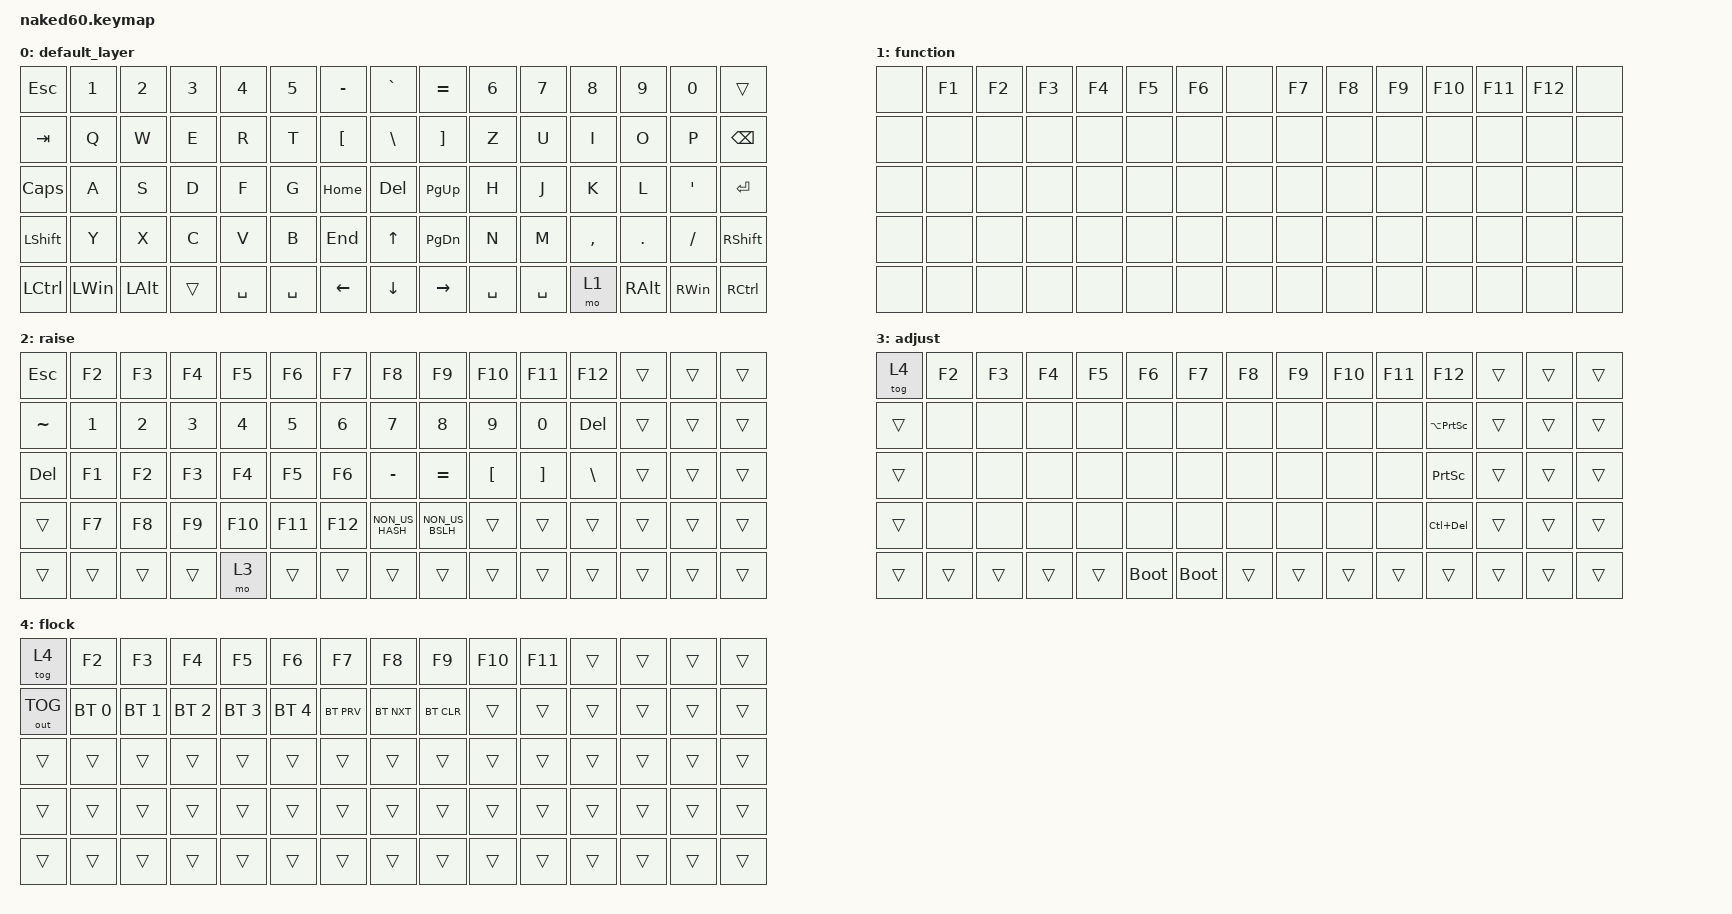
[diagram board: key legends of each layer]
/*
 * Copyright (c) 2020 The ZMK Contributors
 *
 * SPDX-License-Identifier: MIT
 */

#include <behaviors.dtsi>
#include <dt-bindings/zmk/bt.h>
#include <dt-bindings/zmk/keys.h>
#include <dt-bindings/zmk/outputs.h>

/ {
    keymap {
        compatible = "zmk,keymap";

        default_layer {
            // ----------------------------------------------------------------------------------------------------------
            // |  ESC  |  1   |  2   |  3   |  4   |  5   |-------|-------|   6   |  7    |  8   |  9   |   0   | BSPC  |
            // |  TAB  |  Q   |  W   |  E   |  R   |  T   |-------|-------|   Y   |  U    |  I   |  O   |   P   |  \    |
            // | SHIFT |  A   |  S   |  D   |  F   |  G   |-------|-------|   H   |  J    |  K   |  L   |   ;   |  '    |
            // | CTRL  |  Z   |  X   |  C   |  V   |  B   |-------|-------|   N   |  M    |  ,   |  .   |   /   | ENTER |
            // |-------|ADJUST| LCTL | LALT | LGUI | LOWR | SPACE | SPACE |  RAIS | LEFT | DOWN | UARW  | RARW  |-------|

            bindings = <
&kp ESC         &kp N1        &kp N2    &kp N3  &kp N4     &kp N5     &kp MINUS         &kp GRAVE      &kp EQUAL          &kp N6     &kp N7     &kp N8     &kp N9         &kp N0          &trans
&kp TAB         &kp Q         &kp W     &kp E   &kp R      &kp T      &kp LEFT_BRACKET  &kp BACKSLASH  &kp RIGHT_BRACKET  &kp Z      &kp U      &kp I      &kp O          &kp P           &kp BACKSPACE
&kp CAPS        &kp A         &kp S     &kp D   &kp F      &kp G      &kp HOME          &kp DELETE     &kp PAGE_UP        &kp H      &kp J      &kp K      &kp L          &kp APOSTROPHE  &kp ENTER
&kp LEFT_SHIFT  &kp Y         &kp X     &kp C   &kp V      &kp B      &kp END           &kp UP         &kp PAGE_DOWN      &kp N      &kp M      &kp COMMA  &kp PERIOD     &kp SLASH       &kp RIGHT_SHIFT
&kp LCTRL       &kp LEFT_WIN  &kp LALT  &trans  &kp SPACE  &kp SPACE  &kp LEFT          &kp DOWN       &kp RIGHT          &kp SPACE  &kp SPACE  &mo 1      &kp RIGHT_ALT  &kp RIGHT_WIN   &kp RCTRL
            >;
        };

        function {
            // ----------------------------------------------------------------------------------------------------------
            // |  ESC  |  F2  |  F3  |  F4  |  F5  |  F6  |-------|-------|   F7  |  F8   |  F9  | F10  |  F11  |  F12  |
            // |   ~   |  !   |  @   |  #   |  $   |  %   |-------|-------|   ^   |   &   |  *   |  (   |   )   |  DEL  |
            // |       |  F1  |  F2  |  F3  |  F4  |  F5  |-------|-------|   F6  |   _   |  +   |  {   |   }   |   |   |
            // |       |  F7  |  F8  |  F9  |  F10 |  F11 |-------|-------|   F12 | LS(#) |LS(|) |      |       |       |
            // |-------|      |      |      |      |      |       |       |       | NEXT  | Vol- | Vol+ | PLAY  |-------|

            bindings = <
&none  &kp F1  &kp F2  &kp F3  &kp F4  &kp F5  &kp F6  &none  &kp F7  &kp F8  &kp F9  &kp F10  &kp F11  &kp F12  &none
&none  &none   &none   &none   &none   &none   &none   &none  &none   &none   &none   &none    &none    &none    &none
&none  &none   &none   &none   &none   &none   &none   &none  &none   &none   &none   &none    &none    &none    &none
&none  &none   &none   &none   &none   &none   &none   &none  &none   &none   &none   &none    &none    &none    &none
&none  &none   &none   &none   &none   &none   &none   &none  &none   &none   &none   &none    &none    &none    &none
            >;
        };

        raise {
            // ----------------------------------------------------------------------------------------------------------
            // |  ESC  |  F2  |  F3  |  F4  |  F5  |  F6  |-------|-------|  F7   |  F8   |  F9  | F10  |  F11  |  F12  |
            // |   ~   |  1   |  2   |  3   |  4   |  5   |-------|-------|  6    |   7   |  8   |  9   |   0   |  DEL  |
            // |  DEL  |  F1  |  F2  |  F3  |  F4  |  F5  |-------|-------|  F6   |   -   |  =   |  [   |   ]   |   \   |
            // |       |  F7  |  F8  |  F9  |  F10 |  F11 |-------|-------|  F12  |   #   |  |   |      |       |       |
            // |-------|      |      |      |      |      |       |       |       |       |      |      |       |-------|

            bindings = <
&kp ESC    &kp F2  &kp F3  &kp F4  &kp F5   &kp F6   &kp F7   &kp F8           &kp F9           &kp F10   &kp F11   &kp F12   &trans  &trans  &trans
&kp TILDE  &kp N1  &kp N2  &kp N3  &kp N4   &kp N5   &kp N6   &kp N7           &kp N8           &kp N9    &kp N0    &kp DEL   &trans  &trans  &trans
&kp DEL    &kp F1  &kp F2  &kp F3  &kp F4   &kp F5   &kp F6   &kp MINUS        &kp EQUAL        &kp LBKT  &kp RBKT  &kp BSLH  &trans  &trans  &trans
&trans     &kp F7  &kp F8  &kp F9  &kp F10  &kp F11  &kp F12  &kp NON_US_HASH  &kp NON_US_BSLH  &trans    &trans    &trans    &trans  &trans  &trans
&trans     &trans  &trans  &trans  &mo 3    &trans   &trans   &trans           &trans           &trans    &trans    &trans    &trans  &trans  &trans
            >;
        };

        adjust {
            // ----------------------------------------------------------------------------------------------------------
            // |tog(4)|  F2  |  F3  |  F4  |  F5  |  F6  |------|------|  F7  |  F8  |  F9  |  F10 |  F11 |    F12    |
            // |      |  NA  |  NA  |  NA  |  NA  |  NA  |------|------|  NA  |  NA  |  NA  |  NA  |  NA  |LALT(PRTSN)|
            // |      |  NA  |  NA  |  NA  |  NA  |  NA  |------|------|  NA  |  NA  |  NA  |  NA  |  NA  |   PRTSN   |
            // |      |  NA  |  NA  |  NA  |  NA  |  NA  |------|------|  NA  |  NA  |  NA  |  NA  |  NA  |LCTRL(DEL) |
            // |------|      |      |      |      |      |BOOTLD|BOOTLD|      |      |      |      |      |-----------|

            bindings = <
&tog 4  &kp F2  &kp F3  &kp F4  &kp F5  &kp F6       &kp F7       &kp F8  &kp F9  &kp F10  &kp F11  &kp F12        &trans  &trans  &trans
&trans  &none   &none   &none   &none   &none        &none        &none   &none   &none    &none    &kp LA(PSCRN)  &trans  &trans  &trans
&trans  &none   &none   &none   &none   &none        &none        &none   &none   &none    &none    &kp PSCRN      &trans  &trans  &trans
&trans  &none   &none   &none   &none   &none        &none        &none   &none   &none    &none    &kp LC(DEL)    &trans  &trans  &trans
&trans  &trans  &trans  &trans  &trans  &bootloader  &bootloader  &trans  &trans  &trans   &trans   &trans         &trans  &trans  &trans
            >;
        };

        flock {
            // ----------------------------------------------------------------------------------------------------------
            // |tog(4) |  F2    |   F3   |   F4   |   F5   |   F6   |-------|-------|  F7  |  F8  |  F9  | F10 | F11 |      |
            // |out tog|BT_SEL 0|BT_SEL 1|BT_SEL 2|BT_SEL 3|BT_SEL 4|-------|-------|BT_PRV|BT_NXT|BT_CLR|     |     |      |
            // |       |        |        |        |        |        |-------|-------|      |      |      |     |     |      |
            // |       |        |        |        |        |        |-------|-------|      |      |      |     |     |      |
            // |-------|        |        |        |        |        |       |       |      |      |      |     |     |------|

            bindings = <
&tog 4        &kp F2        &kp F3        &kp F4        &kp F5        &kp F6        &kp F7      &kp F8      &kp F9      &kp F10  &kp F11  &trans  &trans  &trans  &trans
&out OUT_TOG  &bt BT_SEL 0  &bt BT_SEL 1  &bt BT_SEL 2  &bt BT_SEL 3  &bt BT_SEL 4  &bt BT_PRV  &bt BT_NXT  &bt BT_CLR  &trans   &trans   &trans  &trans  &trans  &trans
&trans        &trans        &trans        &trans        &trans        &trans        &trans      &trans      &trans      &trans   &trans   &trans  &trans  &trans  &trans
&trans        &trans        &trans        &trans        &trans        &trans        &trans      &trans      &trans      &trans   &trans   &trans  &trans  &trans  &trans
&trans        &trans        &trans        &trans        &trans        &trans        &trans      &trans      &trans      &trans   &trans   &trans  &trans  &trans  &trans
            >;
        };
    };
};
